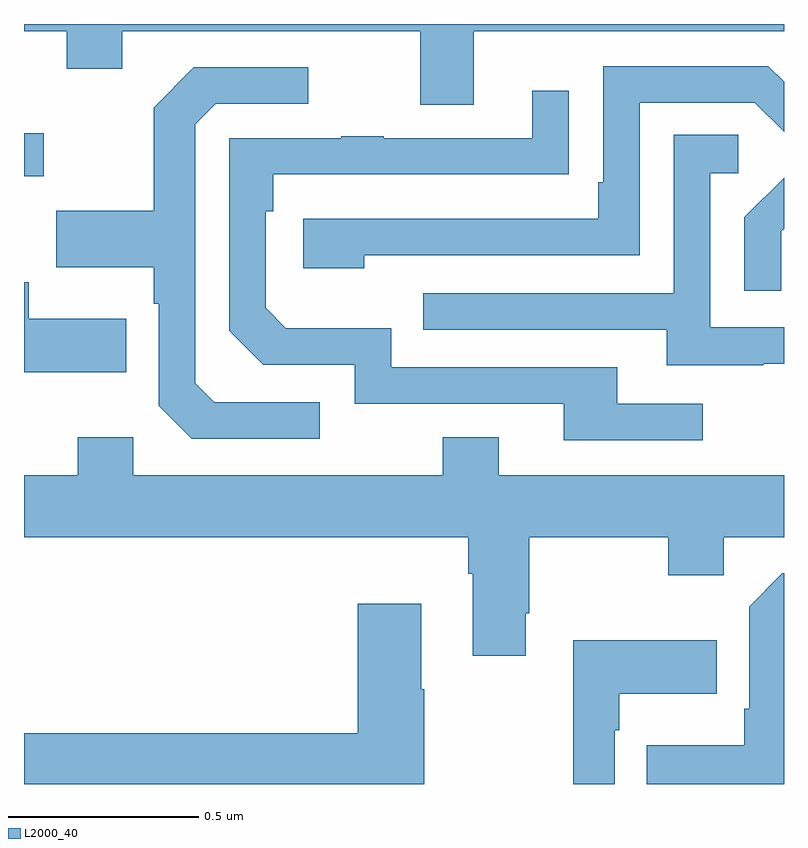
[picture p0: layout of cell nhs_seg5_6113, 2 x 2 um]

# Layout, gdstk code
import gdstk
lib = gdstk.Library(unit=1e-6, precision=1e-09)
def R(c, l, rs):  # rectangles x0, y0, x1, y1
    for r in rs: c.add(gdstk.rectangle(r[:2], r[2:], *l))
def P(c, l, *ps):  # polygons
    for p in ps: c.add(gdstk.Polygon(p, *l))
L2000_40 = (2000, 40)

nhs_seg5_6113 = lib.new_cell('nhs_seg5_6113')
R(nhs_seg5_6113, L2000_40, [(192,836.399,192.052,836.512)])
P(nhs_seg5_6113, L2000_40, [(194,836.799),(192,836.799),(192,836.78),(192.112,836.78),(192.112,836.681),(192.259,836.681),(192.259,836.78),(193.043,836.78),(193.043,836.586),(193.183,836.586),(193.183,836.78),(194,836.78)],
  [(192.896,836.19),(193.62,836.19),(193.62,836.592),(193.923,836.592),(194,836.515),(194,836.647),(193.959,836.688),(193.524,836.688),(193.524,836.383),(193.511,836.383),(193.511,836.286),(192.735,836.286),(192.735,836.156),(192.896,836.156)],
  [(192.778,835.803),(192.501,835.803),(192.45,835.854),(192.45,836.535),(192.504,836.589),(192.748,836.589),(192.748,836.685),(192.447,836.685),(192.342,836.579),(192.342,836.307),(192.085,836.307),(192.085,836.159),(192.342,836.159),(192.342,836.063),(192.354,836.063),(192.354,835.794),(192.441,835.707),(192.778,835.707)],
  [(193.786,835.8),(193.561,835.8),(193.561,835.896),(192.966,835.896),(192.966,835.999),(192.689,835.999),(192.636,836.052),(192.636,836.306),(192.656,836.306),(192.656,836.403),(193.331,836.403),(193.331,836.404),(193.433,836.404),(193.433,836.623),(193.337,836.623),(193.337,836.499),(192.947,836.499),(192.947,836.504),(192.835,836.504),(192.835,836.499),(192.54,836.499),(192.54,835.992),(192.63,835.902),(192.87,835.902),(192.87,835.8),(193.421,835.8),(193.421,835.704),(193.786,835.704)],
  [(193.945,835.905),(194,835.905),(194,836.001),(193.806,836.001),(193.806,836.406),(193.879,836.406),(193.879,836.507),(193.71,836.507),(193.71,836.091),(193.051,836.091),(193.051,835.995),(193.691,835.995),(193.691,835.901),(193.945,835.901)],
  [(193.993,836.253),(194,836.26),(194,836.394),(193.896,836.29),(193.896,836.097),(193.993,836.097)],
  [(192.269,836.023),(192.013,836.023),(192.013,836.119),(192,836.119),(192,835.883),(192.269,835.883)],
  [(193.321,835.249),(193.329,835.249),(193.329,835.448),(193.696,835.448),(193.696,835.349),(193.842,835.349),(193.842,835.448),(194,835.448),(194,835.612),(193.249,835.612),(193.249,835.711),(193.102,835.711),(193.102,835.612),(192.288,835.612),(192.288,835.711),(192.142,835.711),(192.142,835.612),(192,835.612),(192,835.448),(193.169,835.448),(193.169,835.352),(193.181,835.352),(193.181,835.137),(193.321,835.137)],
  [(194,835.353),(193.995,835.353),(193.908,835.266),(193.908,834.997),(193.896,834.997),(193.896,834.901),(193.639,834.901),(193.639,834.799),(194,834.799)],
  [(193.053,835.049),(193.045,835.049),(193.045,835.273),(192.878,835.273),(192.878,834.932),(192,834.932),(192,834.799),(193.053,834.799)],
  [(193.554,834.941),(193.567,834.941),(193.567,835.037),(193.823,835.037),(193.823,835.177),(193.446,835.177),(193.446,834.799),(193.554,834.799)])

lib.write_gds('nhs_seg5_6113.gds')
